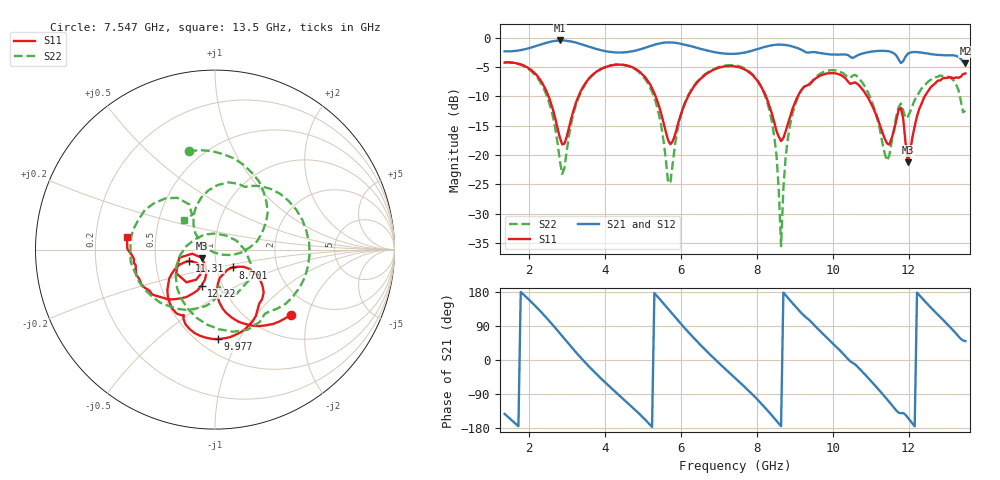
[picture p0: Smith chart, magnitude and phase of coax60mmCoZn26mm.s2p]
!Agilent Technologies,N5230C,MY48100320,A.08.04.10
!Agilent N5230C: A.08.04.10
!Date: Thursday, August 04, 2016 04:14:55
!Correction: S11(Full 2 Port(1,2))
!S21(Full 2 Port(1,2))
!S12(Full 2 Port(1,2))
!S22(Full 2 Port(1,2))
!S2P File: Measurements: S11, S21, S12, S22:
# Hz S  dB  R 50
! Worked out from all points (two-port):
!   201 points, 1.35 GHz to 13.5 GHz, reference 50 ohm
!   highest |S21| = -0.49 dB at 2.808 GHz (marker M1); lowest = -4.4 dB at 13.5 GHz (marker M2)
!   |S21| within 3 dB of the highest: start of sweep to 11.72 GHz; 11.9 GHz to 13.36 GHz (1.456 GHz wide, 11.5 % of centre)
!   lowest |S11| = -21.2 dB at 11.98 GHz (marker M3), VSWR 1.19, Z = 42.9 - j3.98 ohm
!   |S11| at or under -10 dB: 5.33 GHz to 6.19 GHz (859.8 MHz wide, 14.9 % of centre); 8.241 GHz to 9.081 GHz (840.2 MHz wide, 9.7 % of centre); 10.91 GHz to 12.43 GHz (1.52 GHz wide, 13 % of centre)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
!   |S22| runs from -35.5 to -4.2 dB; largest |S21 - S12| = 0.0024
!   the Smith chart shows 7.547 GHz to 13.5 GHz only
!   S11 on the Smith chart (normalised r, x): 7.547 GHz: 1.49, -1.57; 8.701 GHz: 1.19, -0.24; 9.977 GHz: 0.62, -0.82; 11.31 GHz: 0.74, -0.09; 12.22 GHz: 0.80, -0.34; 13.5 GHz: 0.34, +0.06
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1.35027e9  -4.26 152.1  -2.35 -142.2  -2.35 -142.2  -4.22 101.4
2.140002e9  -6.03 96.3  -1.52 144.7  -1.53 144.7  -6.30 14.1
2.808238e9  -17.04 75.7  -0.49 70.2  -0.50 70.2  -21.01 -106.9
3.415724e9  -8.43 116.2  -1.23 -0.2  -1.24 -0.2  -8.61 55.1
4.448451e9  -4.63 56.9  -2.54 -100.1  -2.54 -100.1  -4.61 -77.2
5.42043e9  -11.63 -0.8  -1.03 163.0  -1.02 163.0  -13.12 158.2
5.663424e9  -17.52 13.3  -0.82 134.5  -0.83 134.5  -24.76 77.1
6.088665e9  -11.45 53.4  -1.20 85.2  -1.18 85.3  -11.38 -80.6
6.7569e9  -5.85 10.0  -2.30 15.4  -2.31 15.4  -5.71 -166.1
7.425135e9  -4.91 -32.8  -2.75 -47.3  -2.75 -47.3  -4.75 118.1
7.546632e9  -5.06 -40.4  -2.71 -58.6  -2.71 -58.6  -4.91 105.1
8.336365e9  -11.71 -87.2  -1.39 -139.1  -1.40 -139.1  -12.43 11.2
8.640108e9  -17.61 -58.0  -1.20 -174.8  -1.21 -174.7  -35.49 -113.1
8.700857e9  -17.08 -45.2  -1.23 178.1  -1.24 178.1  -25.68 170.8
9.490589e9  -7.26 -58.2  -2.46 94.4  -2.47 94.5  -7.25 54.7
9.976578e9  -6.05 -88.4  -2.90 46.2  -2.90 46.2  -5.55 -2.6
1.064481e10  -7.83 -126.2  -3.07 -16.6  -3.07 -16.5  -6.59 -77.7
1.131305e10  -16.14 -156.7  -2.25 -89.6  -2.25 -89.5  -17.99 152.7
1.149529e10  -18.20 -134.4  -2.36 -111.0  -2.36 -110.9  -20.04 51.8
1.198128e10  -21.19 -148.1  -2.76 -152.2  -2.76 -152.1  -13.46 -82.2
1.222428e10  -13.38 -110.5  -2.48 177.9  -2.48 178.0  -9.91 -99.5
1.35e10  -6.11 172.2  -4.36 49.9  -4.37 50.0  -12.46 136.5
